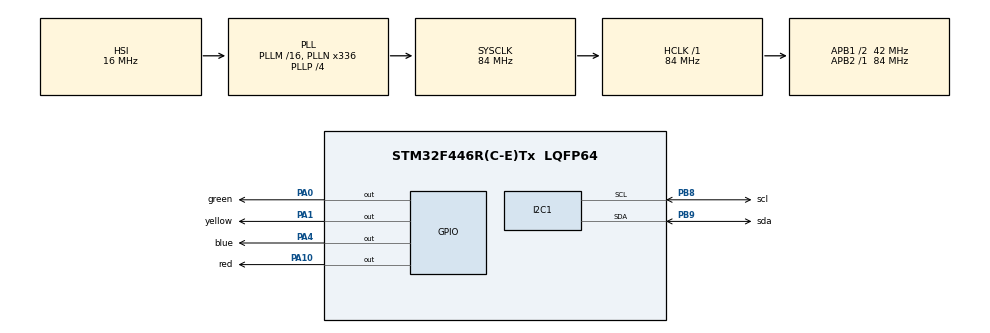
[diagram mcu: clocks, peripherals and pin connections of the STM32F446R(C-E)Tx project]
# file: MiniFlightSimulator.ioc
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Mcu.Family=STM32F4
Mcu.Name=STM32F446R(C-E)Tx
Mcu.Package=LQFP64
NVIC.PriorityGroup=NVIC_PRIORITYGROUP_0
PA0-WKUP.GPIO_Label=green
PA0-WKUP.Signal=GPIO_Output
PA1.GPIO_Label=yellow
PA1.Signal=GPIO_Output
PA10.GPIO_Label=red
PA10.Signal=GPIO_Output
PA13.Mode=Serial_Wire
PA13.Signal=SYS_JTMS-SWDIO
PA14.Mode=Serial_Wire
PA14.Signal=SYS_JTCK-SWCLK
PA4.GPIO_Label=blue
PA4.Signal=GPIO_Output
PB8.GPIO_Label=scl
PB8.Mode=I2C
PB8.Signal=I2C1_SCL
PB9.GPIO_Label=sda
PB9.Mode=I2C
PB9.Signal=I2C1_SDA
ProjectManager.HeapSize=0x200
ProjectManager.StackSize=0x400
ProjectManager.TargetToolchain=STM32CubeIDE
RCC.48MHZClocksFreq_Value=84000000
RCC.AHBFreq_Value=84000000
RCC.APB1CLKDivider=RCC_HCLK_DIV2
RCC.APB1Freq_Value=42000000
RCC.APB1TimFreq_Value=84000000
RCC.APB2Freq_Value=84000000
RCC.APB2TimFreq_Value=84000000
RCC.CortexFreq_Value=84000000
RCC.FLatency-AdvancedSettings=FLASH_LATENCY_2
RCC.HCLKFreq_Value=84000000
RCC.HSE_VALUE=8000000
RCC.HSI_VALUE=16000000
RCC.PLLN=336
RCC.PLLP=RCC_PLLP_DIV4
RCC.SYSCLKFreq_VALUE=84000000
RCC.SYSCLKSource=RCC_SYSCLKSOURCE_PLLCLK
RCC.USBFreq_Value=168000000
RCC.VCOOutputFreq_Value=336000000
board=NUCLEO-F446RE

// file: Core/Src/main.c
/* USER CODE BEGIN Header */
/**
 ******************************************************************************
 * @file           : main.c
 * @brief          : Main program body
 ******************************************************************************
 * @attention
 *
 * Copyright (c) 2026 STMicroelectronics.
 * All rights reserved.
 *
 * This software is licensed under terms that can be found in the LICENSE file
 * in the root directory of this software component.
 * If no LICENSE file comes with this software, it is provided AS-IS.
 *
 ******************************************************************************
 */
/* USER CODE END Header */
#include "main.h"

/* USER CODE BEGIN PD */
#define ADXL_ADDR (0x53 << 1)

#define green_GPIO_Port GPIOA
#define green_Pin  GPIO_PIN_0

#define yellow_GPIO_Port  GPIOA
#define yellow_Pin   GPIO_PIN_1

#define red_GPIO_Port  GPIOA
#define red_Pin   GPIO_PIN_10

#define blue_GPIO_Port GPIOA
#define blue_Pin  GPIO_PIN_4
/* USER CODE END PD */

I2C_HandleTypeDef hi2c1;

/* USER CODE BEGIN PV */
int16_t X, Y, Z;
uint8_t data[6];
/* USER CODE END PV */

void SystemClock_Config(void);
static void MX_GPIO_Init(void);
static void MX_I2C1_Init(void);

/* USER CODE BEGIN 0 */

void ADXL_Write(uint8_t reg, uint8_t value) {
	uint8_t data[2];
	data[0] = reg;
	data[1] = value;
	HAL_I2C_Master_Transmit(&hi2c1, ADXL_ADDR, data, 2, 100);
}

void ADXL_Read(uint8_t reg, uint8_t *buffer, uint8_t size) {
	HAL_I2C_Master_Transmit(&hi2c1, ADXL_ADDR, &reg, 1, 100);
	HAL_I2C_Master_Receive(&hi2c1, ADXL_ADDR, buffer, size, 100);
}

void ADXL_Init(void) {
	ADXL_Write(0x2D, 0x08);  // Measurement mode
	ADXL_Write(0x31, 0x00);  // ±2g
}

void All_LEDs_Off(void) {
	HAL_GPIO_WritePin(GPIOA,
	green_Pin | yellow_Pin | red_Pin | blue_Pin, GPIO_PIN_RESET);
}

/* USER CODE END 0 */

int main(void) {

	/* MCU Configuration--------------------------------------------------------*/

	/* Reset of all peripherals, Initializes the Flash interface and the Systick. */
	HAL_Init();

	/* Configure the system clock */
	SystemClock_Config();

	/* Initialize all configured peripherals */
	MX_GPIO_Init();
	MX_I2C1_Init();
	/* USER CODE BEGIN 2 */
	ADXL_Init();
	/* USER CODE END 2 */

	/* Infinite loop */
	while (1) {

		/* USER CODE BEGIN 3 */
		ADXL_Read(0x32, data, 6);

		X = (int16_t) (data[1] << 8 | data[0]);
		Y = (int16_t) (data[3] << 8 | data[2]);
		Z = (int16_t) (data[5] << 8 | data[4]);

		All_LEDs_Off();

		int threshold = 50;

		// --- Y-Axis Control (Front / Back) ---
		if (Y > threshold) {
			HAL_GPIO_WritePin(green_GPIO_Port, green_Pin, GPIO_PIN_SET); // tilted forward
		} else if (Y < -threshold) {
			HAL_GPIO_WritePin(yellow_GPIO_Port, yellow_Pin, GPIO_PIN_SET); // tilted backwards
		}

		// --- X-Axis Control (Left / Right) ---
		// Here we used 'if' instead of 'else if', so it can run simultaneously with Y-axis.
		if (X > threshold) {
			HAL_GPIO_WritePin(blue_GPIO_Port, blue_Pin, GPIO_PIN_SET); // tilted to right
		} else if (X < -threshold) {
			HAL_GPIO_WritePin(red_GPIO_Port, red_Pin, GPIO_PIN_SET); // tilted to left
		}

		HAL_Delay(100);

	}
	/* USER CODE END 3 */
}

void SystemClock_Config(void) {
	RCC_OscInitTypeDef RCC_OscInitStruct = { 0 };
	RCC_ClkInitTypeDef RCC_ClkInitStruct = { 0 };

	/** Configure the main internal regulator output voltage
	 */
	__HAL_RCC_PWR_CLK_ENABLE();
	__HAL_PWR_VOLTAGESCALING_CONFIG(PWR_REGULATOR_VOLTAGE_SCALE3);

	/** Initializes the RCC Oscillators according to the specified parameters
	 * in the RCC_OscInitTypeDef structure.
	 */
	RCC_OscInitStruct.OscillatorType = RCC_OSCILLATORTYPE_HSI;
	RCC_OscInitStruct.HSIState = RCC_HSI_ON;
	RCC_OscInitStruct.HSICalibrationValue = RCC_HSICALIBRATION_DEFAULT;
	RCC_OscInitStruct.PLL.PLLState = RCC_PLL_ON;
	RCC_OscInitStruct.PLL.PLLSource = RCC_PLLSOURCE_HSI;
	RCC_OscInitStruct.PLL.PLLM = 16;
	RCC_OscInitStruct.PLL.PLLN = 336;
	RCC_OscInitStruct.PLL.PLLP = RCC_PLLP_DIV4;
	RCC_OscInitStruct.PLL.PLLQ = 2;
	RCC_OscInitStruct.PLL.PLLR = 2;
	if (HAL_RCC_OscConfig(&RCC_OscInitStruct) != HAL_OK) {
		Error_Handler();
	}

	/** Initializes the CPU, AHB and APB buses clocks
	 */
	RCC_ClkInitStruct.ClockType = RCC_CLOCKTYPE_HCLK | RCC_CLOCKTYPE_SYSCLK
			| RCC_CLOCKTYPE_PCLK1 | RCC_CLOCKTYPE_PCLK2;
	RCC_ClkInitStruct.SYSCLKSource = RCC_SYSCLKSOURCE_PLLCLK;
	RCC_ClkInitStruct.AHBCLKDivider = RCC_SYSCLK_DIV1;
	RCC_ClkInitStruct.APB1CLKDivider = RCC_HCLK_DIV2;
	RCC_ClkInitStruct.APB2CLKDivider = RCC_HCLK_DIV1;

	if (HAL_RCC_ClockConfig(&RCC_ClkInitStruct, FLASH_LATENCY_2) != HAL_OK) {
		Error_Handler();
	}
}

static void MX_I2C1_Init(void) {

	hi2c1.Instance = I2C1;
	hi2c1.Init.ClockSpeed = 100000;
	hi2c1.Init.DutyCycle = I2C_DUTYCYCLE_2;
	hi2c1.Init.OwnAddress1 = 0;
	hi2c1.Init.AddressingMode = I2C_ADDRESSINGMODE_7BIT;
	hi2c1.Init.DualAddressMode = I2C_DUALADDRESS_DISABLE;
	hi2c1.Init.OwnAddress2 = 0;
	hi2c1.Init.GeneralCallMode = I2C_GENERALCALL_DISABLE;
	hi2c1.Init.NoStretchMode = I2C_NOSTRETCH_DISABLE;
	if (HAL_I2C_Init(&hi2c1) != HAL_OK) {
		Error_Handler();
	}

}

static void MX_GPIO_Init(void) {
	GPIO_InitTypeDef GPIO_InitStruct = { 0 };

	/* GPIO Ports Clock Enable */
	__HAL_RCC_GPIOA_CLK_ENABLE();
	__HAL_RCC_GPIOB_CLK_ENABLE();

	/*Configure GPIO pin Output Level */
	HAL_GPIO_WritePin(GPIOA, green_Pin | yellow_Pin | blue_Pin | red_Pin,
			GPIO_PIN_RESET);

	/*Configure GPIO pins : green_Pin yellow_Pin blue_Pin red_Pin */
	GPIO_InitStruct.Pin = green_Pin | yellow_Pin | blue_Pin | red_Pin;
	GPIO_InitStruct.Mode = GPIO_MODE_OUTPUT_PP;
	GPIO_InitStruct.Pull = GPIO_NOPULL;
	GPIO_InitStruct.Speed = GPIO_SPEED_FREQ_LOW;
	HAL_GPIO_Init(GPIOA, &GPIO_InitStruct);

}

void Error_Handler(void) {
	__disable_irq();
	while (1) {
	}
}
